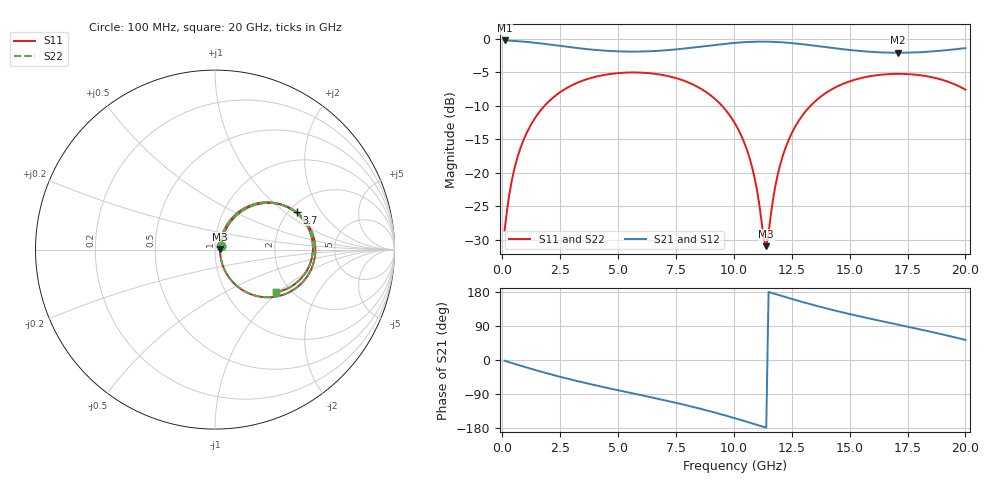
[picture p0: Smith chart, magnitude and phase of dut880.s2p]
! Touchstone file exported from HFSS 2026.1.0
!  File:  C:/ffzhzh/LocalFiles/Ansys_Project_Files/temp_train_TSV_RDL_880_1783273453_38820.aedt
!  Generated:  02:03:22 AM Jul  6, 2026
!  Design:  TSV_RDL
!  Project:  temp_train_TSV_RDL_880_1783273453_38820
! Variables:
!  h_bsmrdl = 2.2um
!  h_ox = 20um
!  h_rdl = 5um
!  h_sub = 93.6um
!  h_tmrdl = 3.5um
!  h_tsv = 93.6um
!  h_via = 3um
!  l_bsmrdl = 699.67um
!  l_sub = 5170.36um
!  l_tmrdl = 634.62um
!  m_sub = 200um
!  pitch = 48.71um
!  r_tsv = 4.09um
!  s_tmrdl = 10um
!  w_bsmrdl = 23.48um
!  w_sub = 500um
!  w_tmrdl = 20.81um
!  x_tsv_center1 = 645.025um
!  x_tsv_center2 = 1368.175um
!  x_tsv_center3 = 2023.605um
!  x_tsv_center4 = 2746.755um
!  x_tsv_center5 = 3402.185um
!  x_tsv_center6 = 4125.335um
# GHz S MA R 50.000000
! Terminal data exported
! Port[1] = TM_RDL1_1_T1
! Port[2] = TM_RDL5_1_T1
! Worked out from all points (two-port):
!   200 points, 100 MHz to 20 GHz, reference 50 ohm
!   highest |S21| = -0.27 dB at 100 MHz (marker M1); lowest = -2.1 dB at 17.1 GHz (marker M2)
!   |S21| within 3 dB of the highest: start of sweep to end of sweep
!   lowest |S11| = -31.0 dB at 11.4 GHz (marker M3), VSWR 1.06, Z = 52.9 + j0.375 ohm
!   |S11| at or under -10 dB: start of sweep to 1.833 GHz; 9.48 GHz to 13.32 GHz (3.84 GHz wide, 33.7 % of centre)
!   |S22| runs from -30.9 to -5.0 dB; largest |S21 - S12| = 1.6e-14
!   S11 on the Smith chart (normalised r, x): 100 MHz: 1.06, +0.04; 3.7 GHz: 2.21, +1.22; 20 GHz: 1.69, -0.97
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0.1  0.03708 31.6  0.9689 -2.0  0.9689 -2.0  0.03708 31.6
! Gamma 0 0 0 0
! Port Impedance 50 0 50 0
0.5  0.1031 61.0  0.9611 -9.6  0.9611 -9.6  0.1031 61.0
1.2  0.2216 58.2  0.9396 -22.5  0.9396 -22.5  0.2216 58.2
2.2  0.364 45.0  0.8966 -39.6  0.8966 -39.6  0.3639 45.0
3.5  0.4877 27.0  0.8407 -59.4  0.8407 -59.4  0.4877 27.0
3.7  0.5008 24.4  0.8336 -62.2  0.8336 -62.2  0.5008 24.4
5.3  0.5574 4.1  0.8008 -83.7  0.8008 -83.7  0.5573 4.1
6.8  0.5397 -14.6  0.8122 -103.4  0.8122 -103.4  0.5397 -14.6
8.8  0.3998 -41.7  0.8808 -132.5  0.8808 -132.5  0.3998 -41.6
10.1  0.2246 -59.9  0.9312 -154.6  0.9312 -154.6  0.2246 -59.9
10.8  0.1079 -64.5  0.9468 -167.4  0.9468 -167.4  0.108 -64.4
11.3  0.03151 -25.7  0.9495 -176.7  0.9495 -176.7  0.03163 -25.6
11.4  0.02828 7.2  0.9491 -178.6  0.9491 -178.6  0.02842 7.2
11.8  0.08063 62.0  0.9445 174.0  0.9445 174.0  0.08069 62.0
12.1  0.1311 64.7  0.9381 168.5  0.9381 168.5  0.1311 64.6
12.7  0.2281 59.5  0.9189 157.7  0.9189 157.7  0.2281 59.5
13.4  0.3266 50.1  0.8897 145.7  0.8897 145.7  0.3266 50.1
14.8  0.4659 30.8  0.83 124.1  0.83 124.1  0.4659 30.8
16.7  0.5436 6.8  0.7861 98.4  0.7861 98.4  0.5436 6.8
17.1  0.546 2.0  0.7845 93.2  0.7845 93.2  0.546 2.0
18.5  0.5176 -15.3  0.8008 74.6  0.8008 74.6  0.5176 -15.2
20  0.4161 -34.8  0.8493 52.9  0.8493 52.9  0.4162 -34.7
